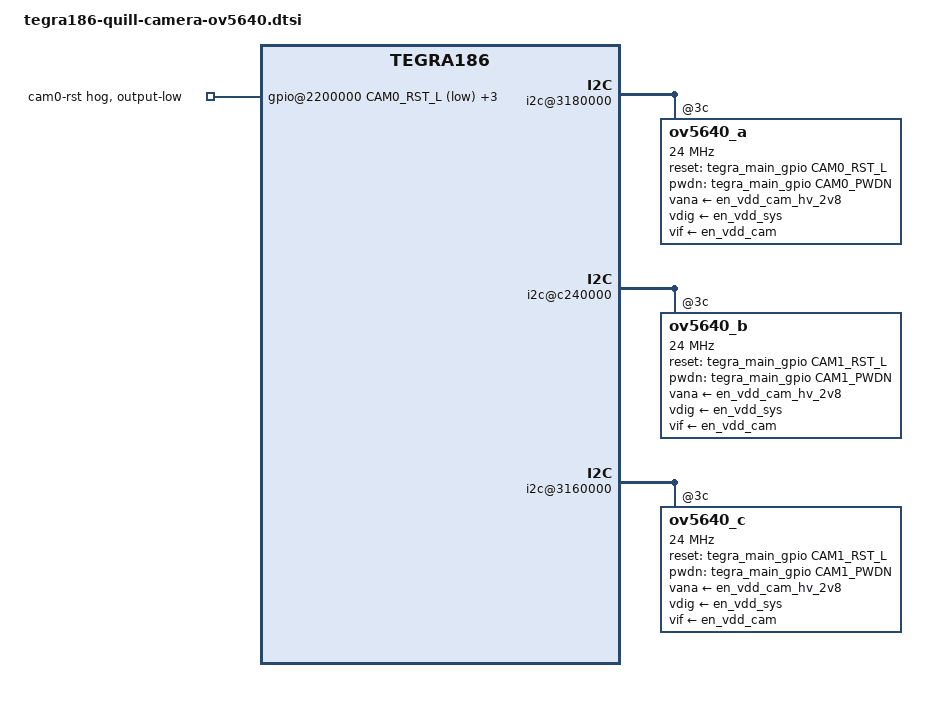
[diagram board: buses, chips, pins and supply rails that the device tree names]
/*
 * Copyright (c) 2015-2016, NVIDIA CORPORATION.  All rights reserved.
 *
 * This program is free software; you can redistribute it and/or modify
 * it under the terms of the GNU General Public License as published by
 * the Free Software Foundation; either version 2 of the License, or
 * (at your option) any later version.
 *
 * This program is distributed in the hope that it will be useful, but WITHOUT
 * ANY WARRANTY; without even the implied warranty of MERCHANTABILITY or
 * FITNESS FOR A PARTICULAR PURPOSE.  See the GNU General Public License for
 * more details.
 *
 * You should have received a copy of the GNU General Public License
 * along with this program.  If not, see <http://www.gnu.org/licenses/>.
 */

#include <t18x-common-modules/tegra186-camera-ov5640.dtsi>
#include "dt-bindings/clock/tegra186-clock.h"

#define CAM0_RST_L	TEGRA_MAIN_GPIO(R, 5)
#define CAM0_PWDN	TEGRA_MAIN_GPIO(R, 0)
#define CAM1_RST_L	TEGRA_MAIN_GPIO(R, 1)
#define CAM1_PWDN	TEGRA_MAIN_GPIO(L, 6)
//#define CAM1_PWDN	TEGRA_MAIN_GPIO(N, 2)
#define CAMERA_I2C_MUX_BUS(x) (0x1E + x)

/* camera control gpio definitions */

/ {
	i2c@3180000{
                ov5640_a@3c {
                    status = "okay";
					
					clocks = <&tegra_car TEGRA186_CLK_EXTPERIPH1>,
							 <&tegra_car TEGRA186_CLK_PLLP_OUT0>;
					clock-names = "extperiph1", "pllp_grtba";
					mclk = "extperiph1";
					clock-frequency = <24000000>;
					reset-gpios = <&tegra_main_gpio CAM0_RST_L GPIO_ACTIVE_HIGH>;
					pwdn-gpios = <&tegra_main_gpio CAM0_PWDN GPIO_ACTIVE_HIGH>;
					//vana-supply = <&en_vdd_cam_hv_2v8>;
					//vif-supply = <&en_vdd_cam>;
					vana-supply = <&en_vdd_cam_hv_2v8>;
					vdig-supply = <&en_vdd_sys>;
					vif-supply = <&en_vdd_cam>;
					vvcm-suply = <&en_vdd_vcm_2v8>;
		
				}; 
	};
	i2c@c240000{
 			status = "okay";
				ov5640_b@3c {
                    			status = "okay";

					clocks = <&tegra_car TEGRA186_CLK_EXTPERIPH1>,
							 <&tegra_car TEGRA186_CLK_PLLP_OUT0>;
					clock-names = "extperiph1", "pllp_grtba";
					mclk = "extperiph1";
					clock-frequency = <24000000>;
					reset-gpios = <&tegra_main_gpio CAM1_RST_L 			GPIO_ACTIVE_HIGH>;
					pwdn-gpios = <&tegra_main_gpio CAM1_PWDN GPIO_ACTIVE_HIGH>;
					//vana-supply = <&en_vdd_cam_hv_2v8>;
					//vif-supply = <&en_vdd_cam>;
					vana-supply = <&en_vdd_cam_hv_2v8>;
					vdig-supply = <&en_vdd_sys>;
					vif-supply = <&en_vdd_cam>;
					vvcm-suply = <&en_vdd_vcm_2v8>;
			};
	};
	i2c@3160000{
 			status = "okay";
				ov5640_c@3c {
                    status = "okay";
					clocks = <&tegra_car TEGRA186_CLK_EXTPERIPH1>,
							 <&tegra_car TEGRA186_CLK_PLLP_OUT0>;
					clock-names = "extperiph1", "pllp_grtba";
					mclk = "extperiph1";
					clock-frequency = <24000000>;
					reset-gpios = <&tegra_main_gpio CAM1_RST_L GPIO_ACTIVE_HIGH>;
					pwdn-gpios = <&tegra_main_gpio CAM1_PWDN GPIO_ACTIVE_HIGH>;
					//vana-supply = <&en_vdd_cam_hv_2v8>;
					//vif-supply = <&en_vdd_cam>;
					vana-supply = <&en_vdd_cam_hv_2v8>;
					vdig-supply = <&en_vdd_sys>;
					vif-supply = <&en_vdd_cam>;
					vvcm-suply = <&en_vdd_vcm_2v8>;
			};
	};
	gpio@2200000 {
		camera-control-output-low {
            status = "okay";
			gpio-hog;
			output-low;
			gpios = <CAM0_RST_L 1 CAM0_PWDN 1 // By Innok
				 CAM1_RST_L 1 CAM1_PWDN 1>;
			label = "cam0-rst", "cam0-pwdn",
				"cam1-rst", "cam1-pwdn";
		};
	};
};
